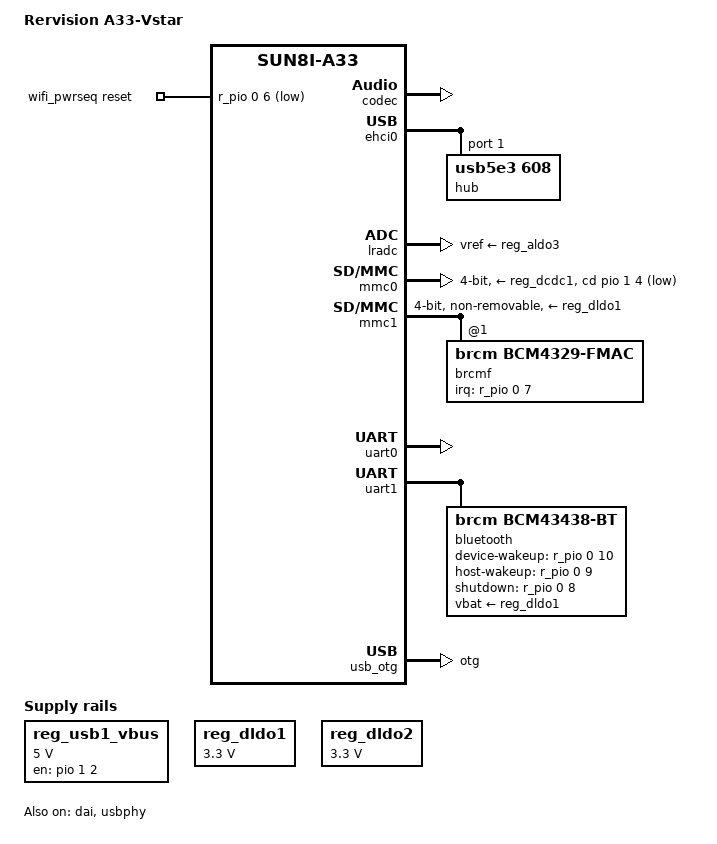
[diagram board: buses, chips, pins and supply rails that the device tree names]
// SPDX-License-Identifier: (GPL-2.0+ OR MIT)
/*
 * Copyright (C) 2024 Icenowy Zheng <uwu@icenowy.me>
 */

/dts-v1/;
#include "sun8i-a33-vstar-core1.dtsi"

#include <dt-bindings/gpio/gpio.h>
#include <dt-bindings/input/input.h>

/ {
	model = "Rervision A33-Vstar";
	compatible = "rervision,a33-vstar",
		     "rervision,a33-core1",
		     "allwinner,sun8i-a33";

	aliases {
		serial0 = &uart0;
		ethernet0 = &r8152;
	};

	chosen {
		stdout-path = "serial0:115200n8";
	};

	reg_usb1_vbus: regulator-usb1-vbus {
		compatible = "regulator-fixed";
		regulator-name = "usb1-vbus";
		regulator-min-microvolt = <5000000>;
		regulator-max-microvolt = <5000000>;
		regulator-boot-on;
		enable-active-high;
		gpio = <&pio 1 2 GPIO_ACTIVE_HIGH>; /* PB2 */
	};

	wifi_pwrseq: pwrseq {
		compatible = "mmc-pwrseq-simple";
		reset-gpios = <&r_pio 0 6 GPIO_ACTIVE_LOW>; /* PL6 */
		clocks = <&rtc CLK_OSC32K_FANOUT>;
		clock-names = "ext_clock";
	};
};

&ac_power_supply {
	status = "okay";
};

&codec {
	status = "okay";
};

&dai {
	status = "okay";
};

&ehci0 {
	#address-cells = <1>;
	#size-cells = <0>;
	status = "okay";

	hub@1 {
		/* Onboard GL850G hub which needs no extra power sequence */
		compatible = "usb5e3,608";
		reg = <1>;
		#address-cells = <1>;
		#size-cells = <0>;

		r8152: ethernet@4 {
			/*
			 * Onboard Realtek RTL8152 USB Ethernet,
			 * with no MAC address programmed
			 */
			compatible = "usbbda,8152";
			reg = <4>;
		};
	};
};

&lradc {
	vref-supply = <&reg_aldo3>;
	status = "okay";

	button-191 {
		label = "V+";
		linux,code = <KEY_VOLUMEUP>;
		channel = <0>;
		voltage = <191011>;
	};

	button-391 {
		label = "V-";
		linux,code = <KEY_VOLUMEDOWN>;
		channel = <0>;
		voltage = <391304>;
	};

	button-600 {
		label = "BACK";
		linux,code = <KEY_BACK>;
		channel = <0>;
		voltage = <600000>;
	};
};

&mmc0 {
	vmmc-supply = <&reg_dcdc1>;
	bus-width = <4>;
	cd-gpios = <&pio 1 4 GPIO_ACTIVE_LOW>; /* PB4 */
	status = "okay";
};

&mmc1 {
	pinctrl-names = "default";
	pinctrl-0 = <&mmc1_pg_pins>;
	vmmc-supply = <&reg_dldo1>;
	mmc-pwrseq = <&wifi_pwrseq>;
	bus-width = <4>;
	non-removable;
	status = "okay";

	brcmf: wifi@1 {
		reg = <1>;
		compatible = "brcm,bcm4329-fmac";
		interrupt-parent = <&r_pio>;
		interrupts = <0 7 IRQ_TYPE_LEVEL_LOW>; /* PL7 */
		interrupt-names = "host-wake";
	};
};

/*
 * Our WiFi chip needs both DLDO1 and DLDO2 to be powered at the same
 * time, with the two being in sync. Since this is not really
 * supported right now, just use the two as always on, and we will fix
 * it later.
 */
&reg_dldo1 {
	regulator-always-on;
	regulator-min-microvolt = <3300000>;
	regulator-max-microvolt = <3300000>;
	regulator-name = "vcc-wifi0";
};

&reg_dldo2 {
	regulator-always-on;
	regulator-min-microvolt = <3300000>;
	regulator-max-microvolt = <3300000>;
	regulator-name = "vcc-wifi1";
};

&reg_drivevbus {
	regulator-name = "usb0-vbus";
	status = "okay";
};

&sound {
	/* TODO: on-board microphone */

	simple-audio-card,widgets = "Headphone", "Headphone Jack";
	simple-audio-card,routing =
		"Left DAC", "DACL",
		"Right DAC", "DACR",
		"Headphone Jack", "HP";
	status = "okay";
};

&uart0 {
	pinctrl-names = "default";
	pinctrl-0 = <&uart0_pb_pins>;
	status = "okay";
};

&uart1 {
	pinctrl-names = "default";
	pinctrl-0 = <&uart1_pg_pins>, <&uart1_cts_rts_pg_pins>;
	uart-has-rtscts;
	status = "okay";

	bluetooth {
		compatible = "brcm,bcm43438-bt";
		clocks = <&rtc CLK_OSC32K_FANOUT>;
		clock-names = "lpo";
		vbat-supply = <&reg_dldo1>;
		device-wakeup-gpios = <&r_pio 0 10 GPIO_ACTIVE_HIGH>; /* PL10 */
		host-wakeup-gpios = <&r_pio 0 9 GPIO_ACTIVE_HIGH>; /* PL9 */
		shutdown-gpios = <&r_pio 0 8 GPIO_ACTIVE_HIGH>; /* PL8 */
	};
};

&usb_otg {
	dr_mode = "otg";
	status = "okay";
};

&usb_power_supply {
	status = "okay";
};

&usbphy {
	usb0_id_det-gpios = <&pio 7 8 GPIO_ACTIVE_HIGH>; /* PH8 */
	usb0_vbus_power-supply = <&usb_power_supply>;
	usb0_vbus-supply = <&reg_drivevbus>;
	usb1_vbus-supply = <&reg_usb1_vbus>;
	status = "okay";
};
